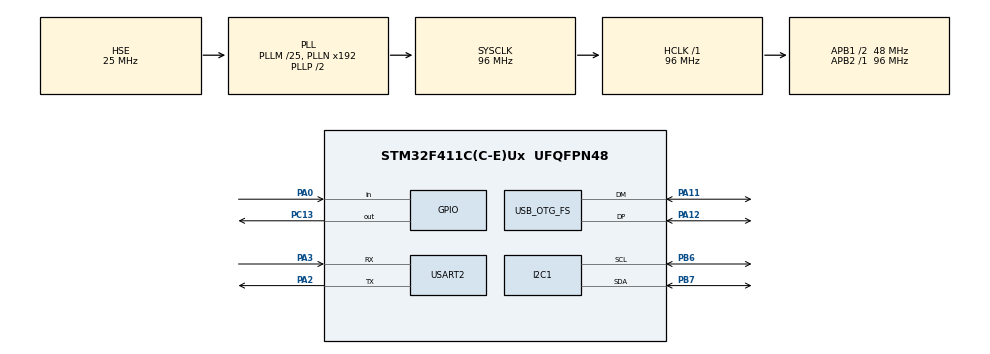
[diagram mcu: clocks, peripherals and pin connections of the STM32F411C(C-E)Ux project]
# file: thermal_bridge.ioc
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I2C1.DutyCycle=I2C_DUTYCYCLE_2
I2C1.I2C_Mode=I2C_Fast
Mcu.Family=STM32F4
Mcu.Name=STM32F411C(C-E)Ux
Mcu.Package=UFQFPN48
NVIC.OTG_FS_IRQn=true\:0\:0\:false\:false\:true\:false\:true\:true
NVIC.PriorityGroup=NVIC_PRIORITYGROUP_4
PA0-WKUP.GPIO_PuPd=GPIO_PULLUP
PA0-WKUP.Signal=GPIO_Input
PA11.Mode=Device_Only
PA11.Signal=USB_OTG_FS_DM
PA12.Mode=Device_Only
PA12.Signal=USB_OTG_FS_DP
PA2.Mode=Asynchronous
PA2.Signal=USART2_TX
PA3.Mode=Asynchronous
PA3.Signal=USART2_RX
PB6.Mode=I2C
PB6.Signal=I2C1_SCL
PB7.Mode=I2C
PB7.Signal=I2C1_SDA
PC13-ANTI_TAMP.Signal=GPIO_Output
PH0\ -\ OSC_IN.Mode=HSE-External-Oscillator
PH0\ -\ OSC_IN.Signal=RCC_OSC_IN
PH1\ -\ OSC_OUT.Mode=HSE-External-Oscillator
PH1\ -\ OSC_OUT.Signal=RCC_OSC_OUT
ProjectManager.HeapSize=0x200
ProjectManager.StackSize=0x400
ProjectManager.TargetToolchain=STM32CubeIDE
RCC.48MHZClocksFreq_Value=48000000
RCC.AHBFreq_Value=96000000
RCC.APB1CLKDivider=RCC_HCLK_DIV2
RCC.APB1Freq_Value=48000000
RCC.APB1TimFreq_Value=96000000
RCC.APB2Freq_Value=96000000
RCC.APB2TimFreq_Value=96000000
RCC.CortexFreq_Value=96000000
RCC.HCLKFreq_Value=96000000
RCC.HSE_VALUE=25000000
RCC.HSI_VALUE=16000000
RCC.LSE_VALUE=32768
RCC.PLLM=25
RCC.SYSCLKFreq_VALUE=96000000
RCC.SYSCLKSource=RCC_SYSCLKSOURCE_PLLCLK
RCC.VCOOutputFreq_Value=192000000
USART2.VirtualMode=VM_ASYNC
USB_DEVICE.CLASS_NAME_FS=CDC
USB_DEVICE.VirtualMode=Cdc
USB_DEVICE.VirtualModeFS=Cdc_FS
USB_OTG_FS.VirtualMode=Device_Only
VP_USB_DEVICE_VS_USB_DEVICE_CDC_FS.Mode=CDC_FS
board=custom

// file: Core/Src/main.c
/* USER CODE BEGIN Header */
/**
  ******************************************************************************
  * @file           : main.c
  * @brief          : Main program body
  ******************************************************************************
  * @attention
  *
  * Copyright (c) 2023 STMicroelectronics.
  * All rights reserved.
  *
  * This software is licensed under terms that can be found in the LICENSE file
  * in the root directory of this software component.
  * If no LICENSE file comes with this software, it is provided AS-IS.
  *
  ******************************************************************************
  */
/* USER CODE END Header */
#include "main.h"
#include "i2c.h"
#include "usart.h"
#include "usb_device.h"
#include "gpio.h"

/* USER CODE BEGIN Includes */
#include "mlx90640_adapter.h"
#include "usb_data_transfer.h"
#include "common.h"
/* USER CODE END Includes */

/* USER CODE BEGIN PV */
static float g_thermal_data[MLX90640_PIXEL_NUM];
/* USER CODE END PV */

void SystemClock_Config(void);

/* USER CODE BEGIN 0 */
#ifdef __GNUC__
#define PUTCHAR_PROTOTYPE int __io_putchar(int ch)
#else
#define PUTCHAR_PROTOTYPE int fputc(int ch, FILE *f)
#endif

PUTCHAR_PROTOTYPE
{
  HAL_UART_Transmit(&huart2, (uint8_t *)&ch, 1, HAL_MAX_DELAY);
  return ch;
}
/* USER CODE END 0 */

int main(void)
{
  /* USER CODE BEGIN 1 */
  uint32_t cnt = 0;
  uint8_t fast_mode = 1;
  /* USER CODE END 1 */

  /* MCU Configuration--------------------------------------------------------*/

  /* Reset of all peripherals, Initializes the Flash interface and the Systick. */
  HAL_Init();

  /* Configure the system clock */
  SystemClock_Config();

  /* Initialize all configured peripherals */
  MX_GPIO_Init();
  MX_I2C1_Init();
  MX_USART2_UART_Init();
  MX_USB_DEVICE_Init();
  /* USER CODE BEGIN 2 */
  mlx_param_init();
  praw("mlx init ok\r\n");
  usb_transfer_init();
  /* USER CODE END 2 */

  /* Infinite loop */
  while (1)
  {

    /* USER CODE BEGIN 3 */
	int ret;
	usb_control_cmd usb_cmd;

	ret = usb_get_cmd(&usb_cmd);
	if (ret > 0) {
		perr("usb cmd: type(%d), fps(%d)", usb_cmd.type, usb_cmd.fps);
		if (usb_cmd.type == USB_DATA_TYPE_CMD_FPS) {
			(void)mlx_set_refresh_rate(usb_cmd.fps);
		}
	}

	mlx_data_read(g_thermal_data);

#if 0
	praw("=================== %ld ======================\r\n", cnt++);
	for (int i = 12; i < 13; i++) {
	  for (int j = 0; j < MLX90640_COLUMN_NUM; j++) {
		praw("%02.2f ", g_thermal_data[i * MLX90640_COLUMN_NUM + j]);
	  }
      praw("\r\n");
	}
	praw("=========================================\r\n");
#endif

	ret = usb_data_store_f(g_thermal_data, count_of(g_thermal_data));
	if (ret != 0) {
	  return ret;
	}
	usb_data_send();

	if (HAL_GPIO_ReadPin(GPIOA, GPIO_PIN_0) == GPIO_PIN_RESET) {
		while (HAL_GPIO_ReadPin(GPIOA, GPIO_PIN_0) != GPIO_PIN_SET) {
			HAL_Delay(1);
		}
		fast_mode = (fast_mode == 0 ? 1 : 0);
	}

	if (fast_mode == 1) {
		HAL_GPIO_WritePin(GPIOC, GPIO_PIN_13, GPIO_PIN_RESET);
	} else {
		HAL_GPIO_WritePin(GPIOC, GPIO_PIN_13, GPIO_PIN_SET);
		HAL_Delay(1000);
	}
  }
  /* USER CODE END 3 */
}

void SystemClock_Config(void)
{
  RCC_OscInitTypeDef RCC_OscInitStruct = {0};
  RCC_ClkInitTypeDef RCC_ClkInitStruct = {0};

  /** Configure the main internal regulator output voltage
  */
  __HAL_RCC_PWR_CLK_ENABLE();
  __HAL_PWR_VOLTAGESCALING_CONFIG(PWR_REGULATOR_VOLTAGE_SCALE1);

  /** Initializes the RCC Oscillators according to the specified parameters
  * in the RCC_OscInitTypeDef structure.
  */
  RCC_OscInitStruct.OscillatorType = RCC_OSCILLATORTYPE_HSE;
  RCC_OscInitStruct.HSEState = RCC_HSE_ON;
  RCC_OscInitStruct.PLL.PLLState = RCC_PLL_ON;
  RCC_OscInitStruct.PLL.PLLSource = RCC_PLLSOURCE_HSE;
  RCC_OscInitStruct.PLL.PLLM = 25;
  RCC_OscInitStruct.PLL.PLLN = 192;
  RCC_OscInitStruct.PLL.PLLP = RCC_PLLP_DIV2;
  RCC_OscInitStruct.PLL.PLLQ = 4;
  if (HAL_RCC_OscConfig(&RCC_OscInitStruct) != HAL_OK)
  {
    Error_Handler();
  }

  /** Initializes the CPU, AHB and APB buses clocks
  */
  RCC_ClkInitStruct.ClockType = RCC_CLOCKTYPE_HCLK|RCC_CLOCKTYPE_SYSCLK
                              |RCC_CLOCKTYPE_PCLK1|RCC_CLOCKTYPE_PCLK2;
  RCC_ClkInitStruct.SYSCLKSource = RCC_SYSCLKSOURCE_PLLCLK;
  RCC_ClkInitStruct.AHBCLKDivider = RCC_SYSCLK_DIV1;
  RCC_ClkInitStruct.APB1CLKDivider = RCC_HCLK_DIV2;
  RCC_ClkInitStruct.APB2CLKDivider = RCC_HCLK_DIV1;

  if (HAL_RCC_ClockConfig(&RCC_ClkInitStruct, FLASH_LATENCY_3) != HAL_OK)
  {
    Error_Handler();
  }
}

void Error_Handler(void)
{
  __disable_irq();
  while (1)
  {
  }
}
